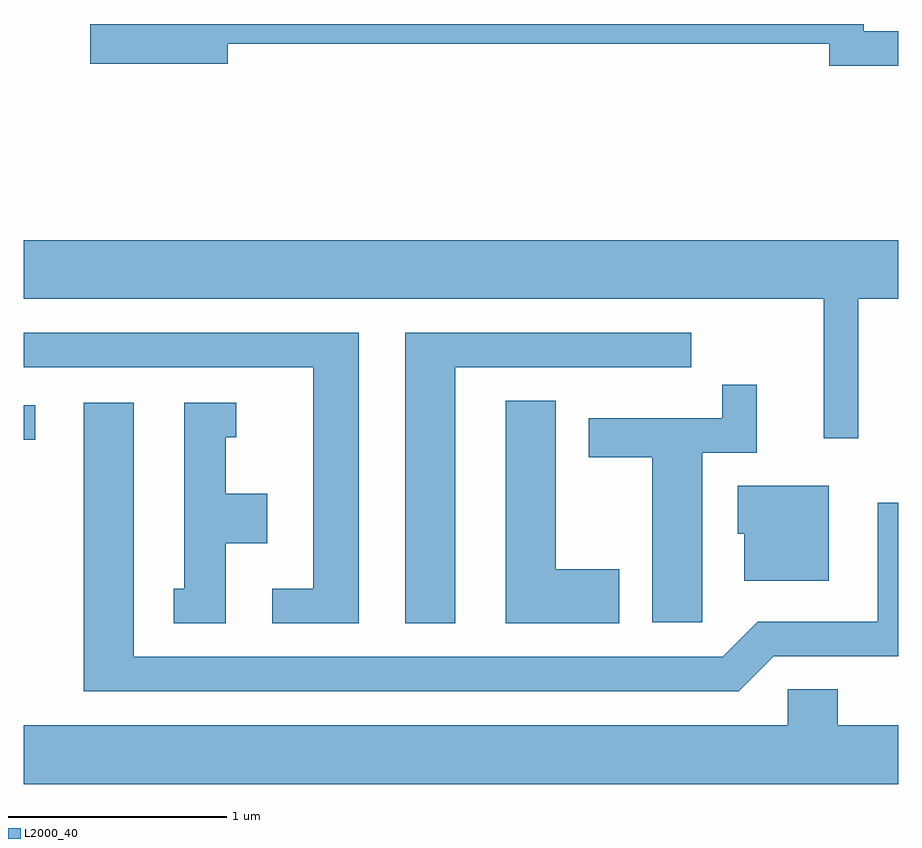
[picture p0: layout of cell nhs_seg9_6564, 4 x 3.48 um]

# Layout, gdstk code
import gdstk
lib = gdstk.Library(unit=1e-6, precision=1e-09)
def R(c, l, rs):  # rectangles x0, y0, x1, y1
    for r in rs: c.add(gdstk.rectangle(r[:2], r[2:], *l))
def P(c, l, *ps):  # polygons
    for p in ps: c.add(gdstk.Polygon(p, *l))
L2000_40 = (2000, 40)

nhs_seg9_6564 = lib.new_cell('nhs_seg9_6564')
R(nhs_seg9_6564, L2000_40, [(379.611,1964.531,379.663,1964.689)])
P(nhs_seg9_6564, L2000_40, [(383.611,1966.399),(383.454,1966.399),(383.454,1966.432),(379.916,1966.432),(379.916,1966.251),(380.544,1966.251),(380.544,1966.341),(383.296,1966.341),(383.296,1966.241),(383.611,1966.241)],
  [(383.429,1965.176),(383.611,1965.176),(383.611,1965.444),(379.611,1965.444),(379.611,1965.176),(383.271,1965.176),(383.271,1964.538),(383.429,1964.538)],
  [(381.144,1965.019),(379.611,1965.019),(379.611,1964.861),(380.936,1964.861),(380.936,1963.849),(380.748,1963.849),(380.748,1963.691),(381.144,1963.691)],
  [(381.584,1964.861),(382.663,1964.861),(382.663,1965.019),(381.356,1965.019),(381.356,1963.691),(381.584,1963.691)],
  [(382.714,1964.471),(382.964,1964.471),(382.964,1964.783),(382.806,1964.783),(382.806,1964.629),(382.196,1964.629),(382.196,1964.451),(382.486,1964.451),(382.486,1963.696),(382.714,1963.696)],
  [(382.334,1963.939),(382.044,1963.939),(382.044,1964.709),(381.816,1964.709),(381.816,1963.691),(382.334,1963.691)],
  [(383.042,1963.541),(383.611,1963.541),(383.611,1964.243),(383.516,1964.243),(383.516,1963.699),(382.969,1963.699),(382.809,1963.539),(380.114,1963.539),(380.114,1964.699),(379.886,1964.699),(379.886,1963.381),(382.882,1963.381)],
  [(380.534,1964.056),(380.724,1964.056),(380.724,1964.284),(380.534,1964.284),(380.534,1964.541),(380.583,1964.541),(380.583,1964.699),(380.346,1964.699),(380.346,1963.849),(380.298,1963.849),(380.298,1963.691),(380.534,1963.691)],
  [(383.294,1964.319),(382.876,1964.319),(382.876,1964.101),(382.906,1964.101),(382.906,1963.886),(383.294,1963.886)],
  [(383.611,1963.224),(383.334,1963.224),(383.334,1963.389),(383.106,1963.389),(383.106,1963.224),(379.611,1963.224),(379.611,1962.956),(383.611,1962.956)])

lib.write_gds('nhs_seg9_6564.gds')
